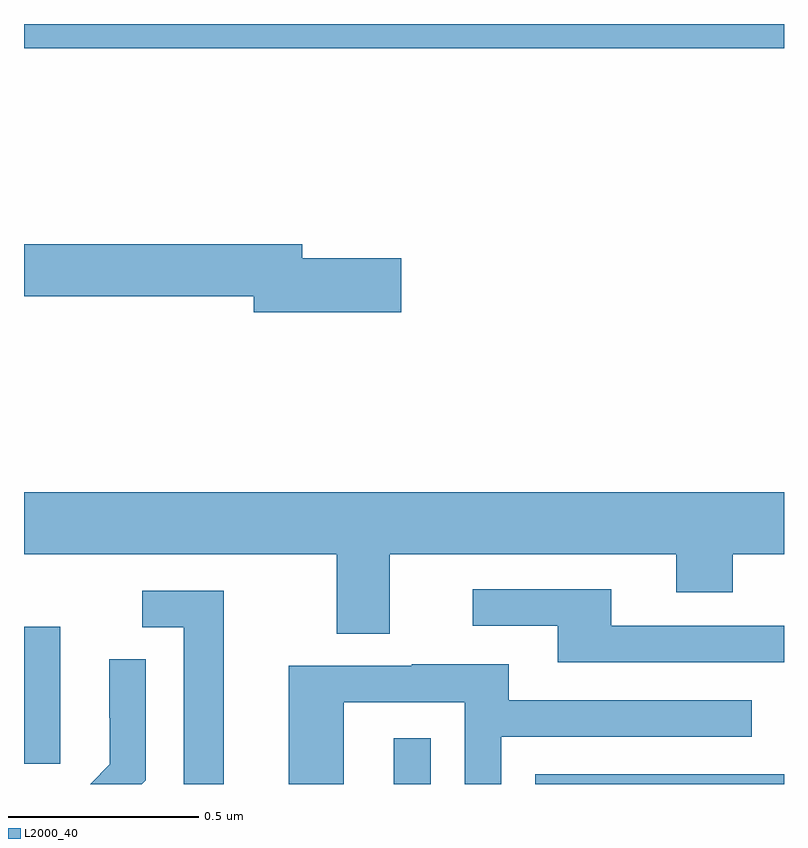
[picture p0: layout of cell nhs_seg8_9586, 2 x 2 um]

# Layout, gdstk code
import gdstk
lib = gdstk.Library(unit=1e-6, precision=1e-09)
def R(c, l, rs):  # rectangles x0, y0, x1, y1
    for r in rs: c.add(gdstk.rectangle(r[:2], r[2:], *l))
def P(c, l, *ps):  # polygons
    for p in ps: c.add(gdstk.Polygon(p, *l))
L2000_40 = (2000, 40)

nhs_seg8_9586 = lib.new_cell('nhs_seg8_9586')
R(nhs_seg8_9586, L2000_40, [(238.973,1111.9,239.07,1112.02), (239.346,1111.9,240,1111.926), (238,1111.953,238.096,1112.314), (238,1113.836,240,1113.9)])
P(nhs_seg8_9586, L2000_40, [(238.993,1113.284),(238.732,1113.284),(238.732,1113.32),(238,1113.32),(238,1113.184),(238.604,1113.184),(238.604,1113.142),(238.993,1113.142)],
  [(238.963,1112.504),(239.717,1112.504),(239.717,1112.405),(239.865,1112.405),(239.865,1112.504),(240,1112.504),(240,1112.668),(238,1112.668),(238,1112.504),(238.823,1112.504),(238.823,1112.296),(238.963,1112.296)],
  [(240,1112.316),(239.545,1112.316),(239.545,1112.412),(239.181,1112.412),(239.181,1112.316),(239.405,1112.316),(239.405,1112.22),(240,1112.22)],
  [(238.525,1112.409),(238.311,1112.409),(238.311,1112.313),(238.421,1112.313),(238.421,1111.9),(238.525,1111.9)],
  [(238.32,1111.91),(238.32,1112.228),(238.224,1112.228),(238.224,1112.074),(238.226,1112.074),(238.226,1111.952),(238.174,1111.9),(238.31,1111.9)],
  [(238.842,1112.115),(239.16,1112.115),(239.16,1111.9),(239.256,1111.9),(239.256,1112.025),(239.915,1112.025),(239.915,1112.121),(239.275,1112.121),(239.275,1112.215),(239.021,1112.215),(239.021,1112.211),(238.697,1112.211),(238.697,1111.9),(238.842,1111.9)])

lib.write_gds('nhs_seg8_9586.gds')
